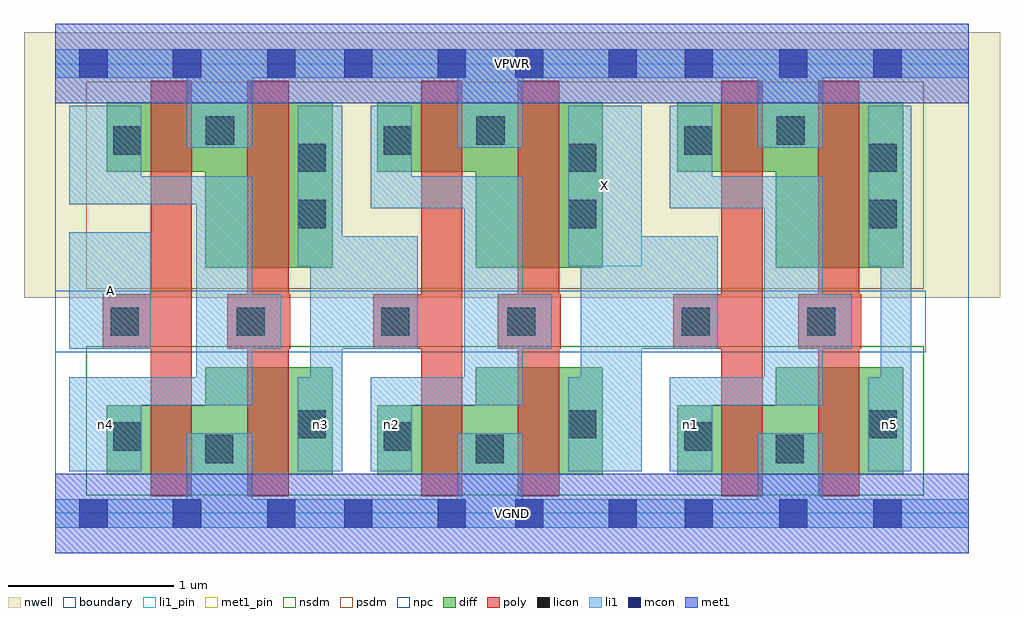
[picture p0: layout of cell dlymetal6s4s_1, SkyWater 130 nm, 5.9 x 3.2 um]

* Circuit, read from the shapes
.subckt dlymetal6s4s_1 A VGND VPWR X n1 n2 n3 n4 n5
XM1 VGND A n4 VSUBS sky130_fd_pr__nfet_01v8 w=0.42 l=0.25
XM2 n3 n4 VGND VSUBS sky130_fd_pr__nfet_01v8 w=0.65 l=0.25
XM3 VGND n3 n2 VSUBS sky130_fd_pr__nfet_01v8 w=0.42 l=0.25
XM4 X n2 VGND VSUBS sky130_fd_pr__nfet_01v8 w=0.65 l=0.25
XM5 VGND X n1 VSUBS sky130_fd_pr__nfet_01v8 w=0.42 l=0.25
XM6 n5 n1 VGND VSUBS sky130_fd_pr__nfet_01v8 w=0.65 l=0.25
XM7 VPWR A n4 n6 sky130_fd_pr__pfet_01v8 w=0.42 l=0.25
XM8 n3 n4 VPWR n6 sky130_fd_pr__pfet_01v8 w=1 l=0.25
XM9 VPWR n3 n2 n6 sky130_fd_pr__pfet_01v8 w=0.42 l=0.25
XM10 X n2 VPWR n6 sky130_fd_pr__pfet_01v8 w=1 l=0.25
XM11 VPWR X n1 n6 sky130_fd_pr__pfet_01v8 w=0.42 l=0.25
XM12 n5 n1 VPWR n6 sky130_fd_pr__pfet_01v8 w=1 l=0.25
.ends

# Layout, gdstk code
import gdstk
lib = gdstk.Library(unit=1e-6, precision=1e-09)
def R(c, l, rs):  # rectangles x0, y0, x1, y1
    for r in rs: c.add(gdstk.rectangle(r[:2], r[2:], *l))
def A(c, l, x, y, w, h, nx, ny, dx, dy):  # array of equal rectangles
    R(c, l, [(x+i*dx, y+j*dy, x+i*dx+w, y+j*dy+h) for i in range(nx) for j in range(ny)])
nwell = (64, 20)
diff = (65, 20)
poly = (66, 20)
licon = (66, 44)
li1_pin = (67, 16)
li1 = (67, 20)
mcon = (67, 44)
met1_pin = (68, 16)
met1 = (68, 20)
nsdm = (93, 44)
psdm = (94, 20)
npc = (95, 20)
boundary = (235, 4)

dlymetal6s4s_1 = lib.new_cell('dlymetal6s4s_1')
R(dlymetal6s4s_1, nwell, [(-0.19,1.305,5.71,2.91), (0,1.305,5.52,2.91)])
R(dlymetal6s4s_1, diff, [(0.31,0.235,1.675,0.655), (0.905,0.235,1.675,0.885), (1.945,0.235,3.31,0.655), (2.54,0.235,3.31,0.885), (3.76,0.235,5.125,0.655), (4.355,0.235,5.125,0.885), (0.905,1.485,1.675,2.485), (2.54,1.485,3.31,2.485), (4.355,1.485,5.125,2.485), (0.31,2.065,1.675,2.485), (1.945,2.065,3.31,2.485), (3.76,2.065,5.125,2.485)])
R(dlymetal6s4s_1, poly, [(0.575,0.105,0.825,2.615), (1.16,0.105,1.41,2.615), (2.21,0.105,2.46,2.615), (2.795,0.105,3.045,2.615), (4.025,0.105,4.275,2.615), (4.61,0.105,4.86,2.615), (0.285,0.995,0.825,1.325), (1.04,0.995,1.42,1.325), (1.92,0.995,2.46,1.325), (2.675,0.995,3.055,1.325), (3.735,0.995,4.275,1.325), (4.49,0.995,4.87,1.325)])
R(dlymetal6s4s_1, licon, [(0.905,0.305,1.075,0.475), (2.54,0.305,2.71,0.475), (4.355,0.305,4.525,0.475), (0.35,0.38,0.52,0.55), (1.985,0.38,2.155,0.55), (3.8,0.38,3.97,0.55), (1.465,0.455,1.635,0.625), (3.1,0.455,3.27,0.625), (4.915,0.455,5.085,0.625), (0.335,1.075,0.505,1.245), (1.095,1.075,1.265,1.245), (1.97,1.075,2.14,1.245), (2.73,1.075,2.9,1.245), (3.785,1.075,3.955,1.245), (4.545,1.075,4.715,1.245), (1.465,1.725,1.635,1.895), (3.1,1.725,3.27,1.895), (4.915,1.725,5.085,1.895), (1.465,2.065,1.635,2.235), (3.1,2.065,3.27,2.235), (4.915,2.065,5.085,2.235), (0.35,2.17,0.52,2.34), (1.985,2.17,2.155,2.34), (3.8,2.17,3.97,2.34), (0.91,2.23,1.08,2.4), (2.545,2.23,2.715,2.4), (4.36,2.23,4.53,2.4)])
R(dlymetal6s4s_1, li1_pin, [(0.085,0.995,0.575,1.7), (3.1,1.495,3.545,2.465)])
R(dlymetal6s4s_1, li1, [(0,-0.085,5.52,0.085), (0.795,-0.085,1.19,0.485), (2.43,-0.085,2.825,0.485), (4.245,-0.085,4.64,0.485), (0.085,0.255,0.52,0.825), (1.465,0.255,1.735,0.825), (1.54,0.255,1.735,2.465), (1.905,0.255,2.155,0.825), (3.1,0.255,3.545,0.825), (3.175,0.255,3.545,2.465), (3.715,0.255,3.97,0.825), (4.915,0.255,5.175,0.825), (4.99,0.255,5.175,2.465), (0.085,0.655,1.19,0.825), (0.85,0.655,1.19,2.04), (1.905,0.655,2.825,0.825), (2.47,0.655,2.825,2.04), (3.715,0.655,4.64,0.825), (4.285,0.655,4.64,2.04), (0.085,0.995,0.575,1.7), (0.85,0.995,1.365,1.325), (1.54,0.995,2.19,1.675), (2.47,0.995,3,1.325), (3.175,0.995,4.005,1.675), (4.285,0.995,4.815,1.325), (1.465,1.495,1.735,2.465), (3.1,1.495,3.545,2.465), (4.915,1.495,5.175,2.465), (1.905,1.845,2.155,2.465), (1.905,1.845,2.825,2.04), (3.715,1.845,3.97,2.465), (3.715,1.845,4.64,2.04), (0.085,1.87,1.19,2.04), (0.085,1.87,0.52,2.465), (0.795,2.21,1.19,2.805), (2.43,2.21,2.825,2.805), (4.245,2.21,4.64,2.805), (0,2.635,5.52,2.805)])
A(dlymetal6s4s_1, mcon, 3.805, -0.085, 0.17, 0.17, 3, 2, 0.57, 2.72)
R(dlymetal6s4s_1, mcon, [(0.145,-0.085,0.315,0.085), (0.71,-0.085,0.88,0.085), (1.28,-0.085,1.45,0.085), (1.745,-0.085,1.915,0.085), (2.31,-0.085,2.48,0.085), (2.78,-0.085,2.95,0.085), (3.345,-0.085,3.515,0.085), (0.145,2.635,0.315,2.805), (0.71,2.635,0.88,2.805), (1.28,2.635,1.45,2.805), (1.745,2.635,1.915,2.805), (2.31,2.635,2.48,2.805), (2.78,2.635,2.95,2.805), (3.345,2.635,3.515,2.805)])
R(dlymetal6s4s_1, met1_pin, [(0,-0.24,5.52,0.24), (0,2.48,5.52,2.96)])
R(dlymetal6s4s_1, met1, [(0,-0.24,5.52,0.24), (0,2.48,5.52,2.96)])
R(dlymetal6s4s_1, nsdm, [(0.185,0.11,5.25,1.01)])
R(dlymetal6s4s_1, psdm, [(0.185,1.36,5.25,2.61)])
R(dlymetal6s4s_1, npc, [(0,0.975,5.26,1.345)])
R(dlymetal6s4s_1, boundary, [(0,0,5.52,2.72)])
dlymetal6s4s_1.add(gdstk.Label('A', (0.33,1.347), layer=67, texttype=5))
dlymetal6s4s_1.add(gdstk.Label('X', (3.322,1.98), layer=67, texttype=5))
dlymetal6s4s_1.add(gdstk.Label('n4', (0.302,0.54), layer=67, texttype=5))
dlymetal6s4s_1.add(gdstk.Label('n3', (1.6,0.54), layer=67, texttype=5))
dlymetal6s4s_1.add(gdstk.Label('n2', (2.03,0.54), layer=67, texttype=5))
dlymetal6s4s_1.add(gdstk.Label('n1', (3.842,0.54), layer=67, texttype=5))
dlymetal6s4s_1.add(gdstk.Label('n5', (5.045,0.54), layer=67, texttype=5))
dlymetal6s4s_1.add(gdstk.Label('VPWR', (2.76,2.72), layer=68, texttype=5))
dlymetal6s4s_1.add(gdstk.Label('VGND', (2.76,0), layer=68, texttype=5))
dlymetal6s4s_1.add(gdstk.Label('A', (0.33,1.347), layer=67, texttype=16))
dlymetal6s4s_1.add(gdstk.Label('X', (3.322,1.98), layer=67, texttype=16))
dlymetal6s4s_1.add(gdstk.Label('VPWR', (2.76,2.72), layer=68, texttype=16))
dlymetal6s4s_1.add(gdstk.Label('VGND', (2.76,0), layer=68, texttype=16))

lib.write_gds('dlymetal6s4s_1.gds')
